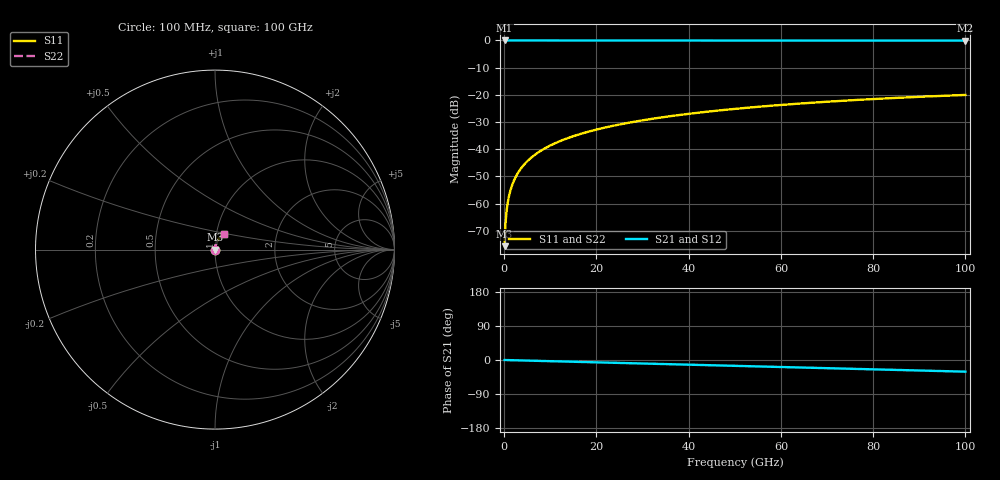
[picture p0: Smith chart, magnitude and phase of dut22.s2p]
! Touchstone file exported from HFSS 2026.1.0
!  File:  C:/ffzhzh/LocalFiles/Ansys_Project_Files/temp_train_TSV_22_1783504438_9504.aedt
!  Generated:  05:55:15 PM Jul  8, 2026
!  Design:  TSV
!  Project:  temp_train_TSV_22_1783504438_9504
! Variables:
!  h_bsmrdl = 2um
!  h_ox = 20um
!  h_rdl = 5um
!  h_sub = 53.6um
!  h_tmrdl = 5um
!  h_tsv = 53.6um
!  h_via = 3um
!  l_bsmrdl = 300um
!  l_sub = 422.28um
!  l_tmrdl = 200um
!  m_sub = 200um
!  pitch = 56.16um
!  r_tsv = 11.14um
!  s_tmrdl = 10um
!  w_bsmrdl = 18um
!  w_sub = 500um
!  w_tmrdl = 12um
!  x_tsv_center1 = 206um
!  x_tsv_center2 = 524um
!  x_tsv_center3 = 736um
!  x_tsv_center4 = 1054um
!  x_tsv_center5 = 1266um
!  x_tsv_center6 = 1584um
# GHz S MA R 50.000000
! Terminal data exported
! Port[1] = TSV1_1_T1
! Port[2] = TSV1_1_T2
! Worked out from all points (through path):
!   1000 points, 100 MHz to 100 GHz, reference 50 ohm
!   highest |S21| = 0.00 dB at 100 MHz (marker M1); lowest = -0.1 dB at 100 GHz (marker M2)
!   group delay of S21, straight-line fit = 854 fs
!   lowest |S11| = -75.7 dB at 100 MHz (marker M3), VSWR 1.00, Z = 50 + j0.0144 ohm
!   |S11| at or under -10 dB: start of sweep to end of sweep
!   |S22| runs from -75.7 to -20.0 dB; largest |S21 - S12| = 2.1e-15
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0.1  0.0001646 60.8  0.9999 -0.0  0.9999 -0.0  0.0001646 60.8
! Gamma 0 0 0 0
! Port Impedance 50 0 50 0
0.3  0.0004336 76.3  0.9999 -0.1  0.9999 -0.1  0.0004336 76.3
0.7  0.0009439 80.2  0.9998 -0.2  0.9998 -0.2  0.0009439 80.2
0.8  0.001066 80.7  0.9998 -0.3  0.9998 -0.3  0.001066 80.7
1  0.001308 81.4  0.9998 -0.3  0.9998 -0.3  0.001308 81.4
1.3  0.001667 82.3  0.9998 -0.4  0.9998 -0.4  0.001667 82.3
1.8  0.002263 83.1  0.9997 -0.6  0.9997 -0.6  0.002263 83.1
2.3  0.002853 83.6  0.9997 -0.7  0.9997 -0.7  0.002853 83.6
3  0.003673 84.0  0.9997 -0.9  0.9997 -0.9  0.003673 84.0
3.8  0.004602 84.3  0.9996 -1.2  0.9996 -1.2  0.004602 84.3
4.8  0.005756 84.4  0.9996 -1.5  0.9996 -1.5  0.005756 84.4
6  0.007134 84.5  0.9995 -1.9  0.9995 -1.9  0.007134 84.5
8.8  0.01033 84.2  0.9994 -2.7  0.9994 -2.7  0.01033 84.2
12.4  0.01441 83.5  0.9992 -3.8  0.9992 -3.8  0.01441 83.5
16.8  0.01936 82.5  0.999 -5.2  0.999 -5.2  0.01936 82.5
24.2  0.02759 80.6  0.9987 -7.5  0.9987 -7.5  0.02759 80.6
33.4  0.03765 78.1  0.9982 -10.3  0.9982 -10.3  0.03765 78.1
41.2  0.04598 75.8  0.9977 -12.7  0.9977 -12.7  0.04598 75.8
50.1  0.05523 73.2  0.9971 -15.4  0.9971 -15.4  0.05523 73.2
66.7  0.07157 68.3  0.9959 -20.5  0.9959 -20.5  0.07157 68.3
83.4  0.08652 63.3  0.9945 -25.7  0.9945 -25.7  0.08652 63.3
100  0.09951 58.3  0.993 -30.8  0.993 -30.8  0.09951 58.3
